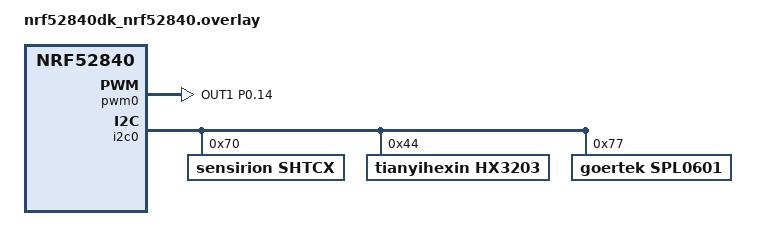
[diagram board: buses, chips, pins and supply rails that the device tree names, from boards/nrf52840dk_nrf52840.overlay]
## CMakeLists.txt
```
#
# Copyright (c) 2021 Nordic Semiconductor ASA
#
# SPDX-License-Identifier: LicenseRef-Nordic-5-Clause
#

#Add for sensor.Llama Add
list(APPEND BOARD_ROOT ${CMAKE_CURRENT_SOURCE_DIR})
list(APPEND ZEPHYR_EXTRA_MODULES ${CMAKE_CURRENT_SOURCE_DIR}/drivers/hx3203)
list(APPEND ZEPHYR_EXTRA_MODULES ${CMAKE_CURRENT_SOURCE_DIR}/drivers/spl0601)

cmake_minimum_required(VERSION 3.20.0)

get_filename_component(MATTER_MODULE_ROOT $ENV{ZEPHYR_BASE}/../modules/lib/matter REALPATH)

# Set Kconfig root files that will be processed as a first Kconfig for used child images.
set(mcuboot_KCONFIG_ROOT ${MATTER_MODULE_ROOT}/config/nrfconnect/chip-module/Kconfig.mcuboot.root)
set(multiprotocol_rpmsg_KCONFIG_ROOT ${MATTER_MODULE_ROOT}/config/nrfconnect/chip-module/Kconfig.multiprotocol_rpmsg.root)
set(hci_rpmsg_KCONFIG_ROOT ${MATTER_MODULE_ROOT}/config/nrfconnect/chip-module/Kconfig.hci_rpmsg.root)

# For prj.conf the CONF_FILE is empty. In other case extract the exact file name from the path string.
if(CONF_FILE)
    get_filename_component(CONFIG_FILE_NAME ${CONF_FILE} NAME)
endif()

if(NOT CONFIG_FILE_NAME STREQUAL "prj_no_dfu.conf")
    set(PM_STATIC_YML_FILE ${CMAKE_CURRENT_SOURCE_DIR}/configuration/${BOARD}/pm_static_dfu.yml)
endif()

find_package(Zephyr HINTS $ENV{ZEPHYR_BASE})

project(matter-light-bulb)

set(COMMON_ROOT ${ZEPHYR_NRF_MODULE_DIR}/samples/matter/common)
set(NLIO_ROOT ${MATTER_MODULE_ROOT}/third_party/nlio/repo)
include(${MATTER_MODULE_ROOT}/config/nrfconnect/app/enable-gnu-std.cmake)
include(${MATTER_MODULE_ROOT}/src/app/chip_data_model.cmake)

# NORDIC SDK APP START
target_include_directories(app PRIVATE
    src
    gl-inet
    drivers/spl0601/zephyr
    drivers/hx3203/zephyr
    ${COMMON_ROOT}/src
    ${NLIO_ROOT}/include
    ${MATTER_MODULE_ROOT}/zzz_generated/app-common
)

target_sources(app PRIVATE
    src/app_task.cpp
    src/main.cpp
    src/zcl_callbacks.cpp
    src/zap-generated/IMClusterCommandHandler.cpp
    src/zap-generated/callback-stub.cpp
    gl-inet/gl_app.cpp
    gl-inet/gl_pwm.cpp
    ${COMMON_ROOT}/src/led_widget.cpp
    ${COMMON_ROOT}/src/pwm_device.cpp
)

if(CONFIG_CHIP_OTA_REQUESTOR OR CONFIG_MCUMGR_SMP_BT)
    target_sources(app PRIVATE ${COMMON_ROOT}/src/ota_util.cpp)
endif()

if(CONFIG_MCUMGR_SMP_BT)
    target_sources(app PRIVATE ${COMMON_ROOT}/src/dfu_over_smp.cpp)
endif()

chip_configure_data_model(app
    INCLUDE_SERVER
    BYPASS_IDL
    ZAP_FILE ${CMAKE_CURRENT_SOURCE_DIR}/src/light_bulb.zap
)
# NORDIC SDK APP END
```

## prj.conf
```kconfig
#
# Copyright (c) 2022 Nordic Semiconductor ASA
#
# SPDX-License-Identifier: LicenseRef-Nordic-5-Clause
#

# Enable CHIP
CONFIG_CHIP=y
CONFIG_CHIP_PROJECT_CONFIG="src/chip_project_config.h"
# 32773 == 0x8005 (example lighting-app)
CONFIG_CHIP_DEVICE_PRODUCT_ID=32773
CONFIG_STD_CPP14=y

# Enable CHIP pairing automatically on application start.
CONFIG_CHIP_ENABLE_PAIRING_AUTOSTART=y

# Add support for LEDs and buttons on Nordic development kits
CONFIG_DK_LIBRARY=y
CONFIG_PWM=y

# Bluetooth Low Energy configuration
CONFIG_BT_DEVICE_NAME="MatterLight"

# Other settings
CONFIG_THREAD_NAME=y
CONFIG_MPU_STACK_GUARD=y
CONFIG_RESET_ON_FATAL_ERROR=n
CONFIG_CHIP_LIB_SHELL=y

# Reduce application size
CONFIG_USE_SEGGER_RTT=n

##Llama Add
CONFIG_SHELL=y
CONFIG_SENSOR=y
CONFIG_SENSOR_SHELL=y
CONFIG_I2C=y
#Added for sensor
CONFIG_SHTCX=y
CONFIG_SPL0601=y
CONFIG_HX3203=y
```

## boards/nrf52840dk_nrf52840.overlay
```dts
/*
 * Copyright (c) 2021-2022 Nordic Semiconductor ASA
 *
 * SPDX-License-Identifier: LicenseRef-Nordic-5-Clause
 */

/ {
	chosen {
		nordic,pm-ext-flash = &mx25r64;
	};

	/*
	* In some default configurations within the nRF Connect SDK,
	* e.g. on nRF52840, the chosen zephyr,entropy node is &cryptocell.
	* This devicetree overlay ensures that default is overridden wherever it
	* is set, as this application uses the RNG node for entropy exclusively.
	*/

	chosen {
		zephyr,entropy = &rng;
	};

	/*
	* By default, PWM module is only configured for led0 (LED1 on the board).
	* The light bulb app, however, uses LED2 to show the state of the lighting,
	* including its brightness level.
	*/
	aliases {
		pwm-led1 = &pwm_led1;
	};

	pwmleds {
		pwm_led1: pwm_led_1 {
			pwms = <&pwm0 1 PWM_MSEC(20) PWM_POLARITY_INVERTED>;
		};
	};

};

&pwm0 {
	pinctrl-0 = <&pwm0_default_alt>;
	pinctrl-1 = <&pwm0_sleep_alt>;
	pinctrl-names = "default", "sleep";
};

/**Llama Add**/
arduino_i2c: &i2c0 {
	compatible = "nordic,nrf-twi";
	status = "okay";
	pinctrl-0 = <&i2c0_default>;
	pinctrl-1 = <&i2c0_sleep>;
	pinctrl-names = "default", "sleep";
	shtcx@70 {
		compatible = "sensirion,shtcx";
		reg = <0x70>;
		chip = "shtc3";
		measure-mode = "normal";
		clock-stretching;
	};
	hx3203@44 {
		compatible = "tianyihexin,hx3203";
		reg = <0x44>;
	};
	spl0601@77 {
		compatible = "goertek,spl0601";
		reg = <0x77>;
	};
};

&pinctrl {
	pwm0_default_alt: pwm0_default_alt {
		group1 {
			psels = <NRF_PSEL(PWM_OUT1, 0, 14)>;
			nordic,invert;
		};
	};

	pwm0_sleep_alt: pwm0_sleep_alt {
		group1 {
			psels = <NRF_PSEL(PWM_OUT1, 0, 14)>;
			low-power-enable;
		};
	};

};

/* Disable unused peripherals to reduce power consumption */
&adc {
	status = "disabled";
};
&uart1 {
	status = "disabled";
};
/*&i2c0 {
	status = "disabled";
};*/
&spi0 {
	status = "disabled";
};
&spi1 {
	status = "disabled";
};
&spi3 {
	status = "disabled";
};
&usbd {
	status = "disabled";
};
```

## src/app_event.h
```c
/*
 * Copyright (c) 2021 Nordic Semiconductor ASA
 *
 * SPDX-License-Identifier: LicenseRef-Nordic-5-Clause
 */

#pragma once

#include <cstdint>

#include "event_types.h"

class LEDWidget;

enum class AppEventType : uint8_t {
	None = 0,
	Button,
	ButtonPushed,
	ButtonReleased,
	Timer,
	UpdateLedState,
	Lighting,
	IdentifyStart,
	IdentifyStop,
	SensorMeasure,		//Llama Add
};

enum class FunctionEvent : uint8_t { NoneSelected = 0, SoftwareUpdate = 0, FactoryReset, AdvertisingStart };

struct AppEvent {
	union {
		struct {
			uint8_t PinNo;
			uint8_t Action;
		} ButtonEvent;
		struct {
			void *Context;
		} TimerEvent;
		struct {
			uint8_t Action;
			int32_t Actor;
		} LightingEvent;
		struct {
			LEDWidget *LedWidget;
		} UpdateLedStateEvent;
	};

	AppEventType Type{ AppEventType::None };
	EventHandler Handler;
};
```

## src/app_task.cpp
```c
/*
 * Copyright (c) 2021 Nordic Semiconductor ASA
 *
 * SPDX-License-Identifier: LicenseRef-Nordic-5-Clause
 */

#include "app_task.h"

#include "app_config.h"
#include "led_util.h"
#include "pwm_device.h"

#include <platform/CHIPDeviceLayer.h>

#include <app-common/zap-generated/attribute-id.h>
#include <app-common/zap-generated/attribute-type.h>
#include <app-common/zap-generated/attributes/Accessors.h>
#include <app-common/zap-generated/cluster-id.h>
#include <app/DeferredAttributePersistenceProvider.h>
#include <app/clusters/identify-server/identify-server.h>
#include <app/server/OnboardingCodesUtil.h>
#include <app/server/Server.h>
#include <credentials/DeviceAttestationCredsProvider.h>
#include <credentials/examples/DeviceAttestationCredsExample.h>
#include <lib/support/CHIPMem.h>
#include <lib/support/CodeUtils.h>
#include <system/SystemError.h>

#ifdef CONFIG_CHIP_WIFI
#include <app/clusters/network-commissioning/network-commissioning.h>
#include <platform/nrfconnect/wifi/NrfWiFiDriver.h>
#endif

#ifdef CONFIG_CHIP_OTA_REQUESTOR
#include "ota_util.h"
#endif

#include <dk_buttons_and_leds.h>
#include <zephyr/logging/log.h>
#include <zephyr/kernel.h>

#include "gl_app.h"

LOG_MODULE_DECLARE(app, CONFIG_MATTER_LOG_LEVEL);

using namespace ::chip;
using namespace ::chip::app;
using namespace ::chip::Credentials;
using namespace ::chip::DeviceLayer;

namespace
{
constexpr uint32_t kFactoryResetTriggerTimeout = 3000;
constexpr uint32_t kFactoryResetCancelWindowTimeout = 3000;
constexpr size_t kAppEventQueueSize = 10;
constexpr EndpointId kLightEndpointId = 1;
constexpr uint8_t kDefaultMinLevel = 0;
constexpr uint8_t kDefaultMaxLevel = 254;
#if NUMBER_OF_BUTTONS == 2
constexpr uint32_t kAdvertisingTriggerTimeout = 3000;
#endif

K_MSGQ_DEFINE(sAppEventQueue, sizeof(AppEvent), kAppEventQueueSize, alignof(AppEvent));
k_timer sFunctionTimer;
k_timer gSensorMeasureTimer;		//Llama Add

Identify sIdentify = { kLightEndpointId, AppTask::IdentifyStartHandler, AppTask::IdentifyStopHandler,
		       EMBER_ZCL_IDENTIFY_IDENTIFY_TYPE_VISIBLE_LED };

LEDWidget sStatusLED;
LEDWidget sIdentifyLED;
#if NUMBER_OF_LEDS == 4
FactoryResetLEDsWrapper<2> sFactoryResetLEDs{ { FACTORY_RESET_SIGNAL_LED, FACTORY_RESET_SIGNAL_LED1 } };
#endif

bool sIsNetworkProvisioned = false;
bool sIsNetworkEnabled = false;
bool sHaveBLEConnections = false;

const struct pwm_dt_spec sLightPwmDevice = PWM_DT_SPEC_GET(DT_ALIAS(pwm_led1));

// Define a custom attribute persister which makes actual write of the CurrentLevel attribute value
// to the non-volatile storage only when it has remained constant for 5 seconds. This is to reduce
// the flash wearout when the attribute changes frequently as a result of MoveToLevel command.
// DeferredAttribute object describes a deferred attribute, but also holds a buffer with a value to
// be written, so it must live so long as the DeferredAttributePersistenceProvider object.
DeferredAttribute gCurrentLevelPersister(ConcreteAttributePath(kLightEndpointId, Clusters::LevelControl::Id,
							       Clusters::LevelControl::Attributes::CurrentLevel::Id));
DeferredAttributePersistenceProvider gDeferredAttributePersister(Server::GetInstance().GetDefaultAttributePersister(),
								 Span<DeferredAttribute>(&gCurrentLevelPersister, 1),
								 System::Clock::Milliseconds32(5000));

} /* namespace */

namespace LedConsts
{
constexpr uint32_t kBlinkRate_ms{ 500 };
constexpr uint32_t kIdentifyBlinkRate_ms{ 500 };

namespace StatusLed
{
	namespace Unprovisioned
	{
		constexpr uint32_t kOn_ms{ 100 };
		constexpr uint32_t kOff_ms{ kOn_ms };
	} /* namespace Unprovisioned */
	namespace Provisioned
	{
		constexpr uint32_t kOn_ms{ 50 };
		constexpr uint32_t kOff_ms{ 950 };
	} /* namespace Provisioned */

} /* namespace StatusLed */
} /* namespace LedConsts */

#ifdef CONFIG_CHIP_WIFI
app::Clusters::NetworkCommissioning::Instance
	sWiFiCommissioningInstance(0, &(NetworkCommissioning::NrfWiFiDriver::Instance()));
#endif

CHIP_ERROR AppTask::Init()
{
	/* Initialize CHIP stack */
	LOG_INF("Init CHIP stack");

	CHIP_ERROR err = chip::Platform::MemoryInit();
	if (err != CHIP_NO_ERROR) {
		LOG_ERR("Platform::MemoryInit() failed");
		return err;
	}

	err = PlatformMgr().InitChipStack();
	if (err != CHIP_NO_ERROR) {
		LOG_ERR("PlatformMgr().InitChipStack() failed");
		return err;
	}

#if defined(CONFIG_NET_L2_OPENTHREAD)
	err = ThreadStackMgr().InitThreadStack();
	if (err != CHIP_NO_ERROR) {
		LOG_ERR("ThreadStackMgr().InitThreadStack() failed: %s", ErrorStr(err));
		return err;
	}

	err = ConnectivityMgr().SetThreadDeviceType(ConnectivityManager::kThreadDeviceType_Router);

	if (err != CHIP_NO_ERROR) {
		LOG_ERR("ThreadStackMgr().InitThreadStack() failed: %s", ErrorStr(err));
		return err;
	}

#elif defined(CONFIG_CHIP_WIFI)
	sWiFiCommissioningInstance.Init();
#else
	return CHIP_ERROR_INTERNAL;
#endif /* CONFIG_NET_L2_OPENTHREAD */

	/* Initialize LEDs */
	LEDWidget::InitGpio();
	LEDWidget::SetStateUpdateCallback(LEDStateUpdateHandler);

	sStatusLED.Init(SYSTEM_STATE_LED);
	sIdentifyLED.Init(LIGHTING_STATE_LED);
	sIdentifyLED.Set(false);

	UpdateStatusLED();

	/* Initialize buttons */
	int ret = dk_buttons_init(ButtonEventHandler);
	if (ret) {
		LOG_ERR("dk_buttons_init() failed");
		return chip::System::MapErrorZephyr(ret);
	}

	/* Initialize function timer */
	k_timer_init(&sFunctionTimer, &AppTask::FunctionTimerTimeoutCallback, nullptr);
	k_timer_user_data_set(&sFunctionTimer, this);

	/* Llama Add */
	// k_timer_init(&gSensorMeasureTimer, &AppTask::SensorMeasureHandler, nullptr);
	// k_timer_user_data_set(&gSensorMeasureTimer, this);
	// k_timer_start(&gSensorMeasureTimer, K_MSEC(500), K_MSEC(500));		//Llama Add

#ifdef CONFIG_MCUMGR_SMP_BT
	/* Initialize DFU over SMP */
	GetDFUOverSMP().Init();
	GetDFUOverSMP().ConfirmNewImage();
#endif

	/* Initialize lighting device (PWM) */
	uint8_t minLightLevel = kDefaultMinLevel;
	Clusters::LevelControl::Attributes::MinLevel::Get(kLightEndpointId, &minLightLevel);

	uint8_t maxLightLevel = kDefaultMaxLevel;
	Clusters::LevelControl::Attributes::MaxLevel::Get(kLightEndpointId, &maxLightLevel);

	ret = mPWMDevice.Init(&sLightPwmDevice, minLightLevel, maxLightLevel, maxLightLevel);
	if (ret != 0) {
		return chip::System::MapErrorZephyr(ret);
	}
	mPWMDevice.SetCallbacks(ActionInitiated, ActionCompleted);

	/* Initialize CHIP server */
#if CONFIG_CHIP_FACTORY_DATA
	ReturnErrorOnFailure(mFactoryDataProvider.Init());
	SetDeviceInstanceInfoProvider(&mFactoryDataProvider);
	SetDeviceAttestationCredentialsProvider(&mFactoryDataProvider);
	SetCommissionableDataProvider(&mFactoryDataProvider);
#else
	SetDeviceAttestationCredentialsProvider(Examples::GetExampleDACProvider());
#endif

	static CommonCaseDeviceServerInitParams initParams;
	(void)initParams.InitializeStaticResourcesBeforeServerInit();

	ReturnErrorOnFailure(chip::Server::GetInstance().Init(initParams));
	app::SetAttributePersistenceProvider(&gDeferredAttributePersister);
	ConfigurationMgr().LogDeviceConfig();
	PrintOnboardingCodes(chip::RendezvousInformationFlags(chip::RendezvousInformationFlag::kBLE));

	/*
	 * Add CHIP event handler and start CHIP thread.
	 * Note that all the initialization code should happen prior to this point to avoid data races
	 * between the main and the CHIP threads.
	 */
	PlatformMgr().AddEventHandler(ChipEventHandler, 0);

	err = PlatformMgr().StartEventLoopTask();
	if (err != CHIP_NO_ERROR) {
		LOG_ERR("PlatformMgr().StartEventLoopTask() failed");
		return err;
	}

	return CHIP_NO_ERROR;
}

CHIP_ERROR AppTask::StartApp()
{
	ReturnErrorOnFailure(Init());

	AppEvent event = {};

	while (true) {
		k_msgq_get(&sAppEventQueue, &event, K_FOREVER);
		DispatchEvent(event);

		/*Llama add to fresh sensor value*/
		if(sensor_hx3203_update_flag){
				value_hx3203 = app_sensor_fetch("hx3203@44");
				LOG_INF("Update sensor value in loop main.\n");
				sensor_hx3203_update_flag = false;
		}
	}

	return CHIP_NO_ERROR;
}

void AppTask::IdentifyStartHandler(Identify *)
{
	AppEvent event;
	event.Type = AppEventType::IdentifyStart;
	event.Handler = [](const AppEvent &) {
		Instance().mPWMDevice.SuppressOutput();
		sIdentifyLED.Blink(LedConsts::kIdentifyBlinkRate_ms);
	};
	PostEvent(event);
}

void AppTask::IdentifyStopHandler(Identify *)
{
	AppEvent event;
	event.Type = AppEventType::IdentifyStop;
	event.Handler = [](const AppEvent &) {
		sIdentifyLED.Set(false);
		Instance().mPWMDevice.ApplyLevel();
	};
	PostEvent(event);
}

#if NUMBER_OF_BUTTONS == 2
void AppTask::StartBLEAdvertisementAndLightActionEventHandler(const AppEvent &event)
{
	if (event.ButtonEvent.Action == static_cast<uint8_t>(AppEventType::ButtonPushed)) {
		Instance().StartTimer(kAdvertisingTriggerTimeout);
		Instance().mFunction = FunctionEvent::AdvertisingStart;
	} else {
		if (Instance().mFunction == FunctionEvent::AdvertisingStart && Instance().mFunctionTimerActive) {
			Instance().CancelTimer();
			Instance().mFunction = FunctionEvent::NoneSelected;

			AppEvent button_event;
			button_event.Type = AppEventType::Button;
			button_event.ButtonEvent.PinNo = BLE_ADVERTISEMENT_START_AND_LIGHTING_BUTTON;
			button_event.ButtonEvent.Action = static_cast<uint8_t>(AppEventType::ButtonReleased);
			button_event.Handler = LightingActionEventHandler;
			PostEvent(button_event);
		}
	}
}
#endif

void AppTask::LightingActionEventHandler(const AppEvent &event)
{
	PWMDevice::Action_t action = PWMDevice::INVALID_ACTION;
	int32_t actor = 0;

	if (event.Type == AppEventType::Lighting) {
		action = static_cast<PWMDevice::Action_t>(event.LightingEvent.Action);
		actor = event.LightingEvent.Actor;
	} else if (event.Type == AppEventType::Button) {
		action = Instance().mPWMDevice.IsTurnedOn() ? PWMDevice::OFF_ACTION : PWMDevice::ON_ACTION;
		actor = static_cast<int32_t>(AppEventType::Button);
	}

	if (action != PWMDevice::INVALID_ACTION && Instance().mPWMDevice.InitiateAction(action, actor, NULL)) {
		LOG_INF("Action is already in progress or active.");
	}
}

void AppTask::ButtonEventHandler(uint32_t buttonState, uint32_t hasChanged)
{
	AppEvent button_event;
	button_event.Type = AppEventType::Button;

#if NUMBER_OF_BUTTONS == 2
	if (BLE_ADVERTISEMENT_START_AND_LIGHTING_BUTTON_MASK & hasChanged) {
		button_event.ButtonEvent.PinNo = BLE_ADVERTISEMENT_START_AND_LIGHTING_BUTTON;
		button_event.ButtonEvent.Action =
			static_cast<uint8_t>((BLE_ADVERTISEMENT_START_AND_LIGHTING_BUTTON_MASK & buttonState) ?
						     AppEventType::ButtonPushed :
						     AppEventType::ButtonReleased);
		button_event.Handler = StartBLEAdvertisementAndLightActionEventHandler;
		PostEvent(button_event);
	}
#else
	if (LIGHTING_BUTTON_MASK & buttonState & hasChanged) {
		button_event.ButtonEvent.PinNo = LIGHTING_BUTTON;
		button_event.ButtonEvent.Action = static_cast<uint8_t>(AppEventType::ButtonPushed);
		button_event.Handler = LightingActionEventHandler;
		PostEvent(button_event);
	}

	if (BLE_ADVERTISEMENT_START_BUTTON_MASK & buttonState & hasChanged) {
		button_event.ButtonEvent.PinNo = BLE_ADVERTISEMENT_START_BUTTON;
		button_event.ButtonEvent.Action = static_cast<uint8_t>(AppEventType::ButtonPushed);
		button_event.Handler = StartBLEAdvertisementHandler;
		PostEvent(button_event);
	}
#endif

	if (FUNCTION_BUTTON_MASK & hasChanged) {
		button_event.ButtonEvent.PinNo = FUNCTION_BUTTON;
		button_event.ButtonEvent.Action =
			static_cast<uint8_t>((FUNCTION_BUTTON_MASK & buttonState) ? AppEventType::ButtonPushed :
										    AppEventType::ButtonReleased);
		button_event.Handler = FunctionHandler;
		PostEvent(button_event);
	}
}

void AppTask::FunctionTimerTimeoutCallback(k_timer *timer)
{
	if (!timer) {
		return;
	}

	Instance().mFunctionTimerActive = false;
	AppEvent event;
	event.Type = AppEventType::Timer;
	event.TimerEvent.Context = k_timer_user_data_get(timer);
	event.Handler = FunctionTimerEventHandler;
	PostEvent(event);

	/*Llama Add*/
	// event.Type = AppEventType::SensorMeasure;
	// event.Handler = SensorMeasureFunctionHandler;
	// PostEvent(event);
}

void AppTask::FunctionTimerEventHandler(const AppEvent &event)
{	
	LOG_INF("Testing if is runing.");
	if (event.Type != AppEventType::Timer) {
		return;
	}

	/* If we reached here, the button was held past kFactoryResetTriggerTimeout, initiate factory reset */
	if (Instance().mFunction == FunctionEvent::SoftwareUpdate) {
		LOG_INF("Factory Reset Triggered. Release button within %ums to cancel.", kFactoryResetTriggerTimeout);

		/* Start timer for kFactoryResetCancelWindowTimeout to allow user to cancel, if required. */
		Instance().StartTimer(kFactoryResetCancelWindowTimeout);
		Instance().mFunction = FunctionEvent::FactoryReset;

		/* Turn off all LEDs before starting blink to make sure blink is co-ordinated. */
		sStatusLED.Set(false);
#if NUMBER_OF_LEDS == 4
		sFactoryResetLEDs.Set(false);
#endif

		sStatusLED.Blink(LedConsts::kBlinkRate_ms);
#if NUMBER_OF_LEDS == 4
		sFactoryResetLEDs.Blink(LedConsts::kBlinkRate_ms);
#endif
	} else if (Instance().mFunction == FunctionEvent::FactoryReset) {
		/* Actually trigger Factory Reset */
		Instance().mFunction = FunctionEvent::NoneSelected;
		chip::Server::GetInstance().ScheduleFactoryReset();
	} else if (Instance().mFunction == FunctionEvent::AdvertisingStart) {
		/* The button was held past kAdvertisingTriggerTimeout, start BLE advertisement
		   if we have 2 buttons UI*/
#if NUMBER_OF_BUTTONS == 2
		StartBLEAdvertisementHandler(event);
		Instance().mFunction = FunctionEvent::NoneSelected;
#endif
	}
}

void AppTask::FunctionHandler(const AppEvent &event)
{
	if (event.ButtonEvent.PinNo != FUNCTION_BUTTON)
		return;

	/* To trigger software update: press the FUNCTION_BUTTON button briefly (< kFactoryResetTriggerTimeout)
	 * To initiate factory reset: press the FUNCTION_BUTTON for kFactoryResetTriggerTimeout +
	 * kFactoryResetCancelWindowTimeout All LEDs start blinking after kFactoryResetTriggerTimeout to signal factory
	 * reset has been initiated. To cancel factory reset: release the FUNCTION_BUTTON once all LEDs start blinking
	 * within the kFactoryResetCancelWindowTimeout.
	 */
	if (event.ButtonEvent.Action == static_cast<uint8_t>(AppEventType::ButtonPushed)) {
		if (!Instance().mFunctionTimerActive && Instance().mFunction == FunctionEvent::NoneSelected) {
			Instance().StartTimer(kFactoryResetTriggerTimeout);
			Instance().mFunction = FunctionEvent::SoftwareUpdate;
		}
	} else {
		/* If the button was released before factory reset got initiated, trigger a software update. */
		if (Instance().mFunctionTimerActive && Instance().mFunction == FunctionEvent::SoftwareUpdate) {
			Instance().CancelTimer();
			Instance().mFunction = FunctionEvent::NoneSelected;

#ifdef CONFIG_MCUMGR_SMP_BT
			GetDFUOverSMP().StartServer();
#else
			LOG_INF("Software update is disabled");
#endif
		} else if (Instance().mFunctionTimerActive && Instance().mFunction == FunctionEvent::FactoryReset) {
#if NUMBER_OF_LEDS == 4
			sFactoryResetLEDs.Set(false);
#endif
			UpdateStatusLED();
			Instance().CancelTimer();
			Instance().mFunction = FunctionEvent::NoneSelected;
			LOG_INF("Factory Reset has been Canceled");
		}
	}
}

void AppTask::StartBLEAdvertisementHandler(const AppEvent &)
{
	if (Server::GetInstance().GetFabricTable().FabricCount() != 0) {
		LOG_INF("Matter service BLE advertising not started - device is already commissioned");
		return;
	}

	if (ConnectivityMgr().IsBLEAdvertisingEnabled()) {
		LOG_INF("BLE advertising is already enabled");
		return;
	}

	if (Server::GetInstance().GetCommissioningWindowManager().OpenBasicCommissioningWindow() != CHIP_NO_ERROR) {
		LOG_ERR("OpenBasicCommissioningWindow() failed");
	}
}

void AppTask::UpdateLedStateEventHandler(const AppEvent &event)
{
	if (event.Type == AppEventType::UpdateLedState) {
		event.UpdateLedStateEvent.LedWidget->UpdateState();
	}
}

void AppTask::LEDStateUpdateHandler(LEDWidget &ledWidget)
{
	AppEvent event;
	event.Type = AppEventType::UpdateLedState;
	event.Handler = UpdateLedStateEventHandler;
	event.UpdateLedStateEvent.LedWidget = &ledWidget;
	PostEvent(event);
}

void AppTask::UpdateStatusLED()
{
	/* Update the status LED.
	 *
	 * If IPv6 network and service provisioned, keep the LED On constantly.
	 *
	 * If the system has ble connection(s) uptill the stage above, THEN blink the LED at an even
	 * rate of 100ms.
	 *
	 * Otherwise, blink the LED for a very short time. */
	if (sIsNetworkProvisioned && sIsNetworkEnabled) {
		sStatusLED.Set(true);
	} else if (sHaveBLEConnections) {
		sStatusLED.Blink(LedConsts::StatusLed::Unprovisioned::kOn_ms,
				 LedConsts::StatusLed::Unprovisioned::kOff_ms);
	} else {
		sStatusLED.Blink(LedConsts::StatusLed::Provisioned::kOn_ms, LedConsts::StatusLed::Provisioned::kOff_ms);
	}
}

void AppTask::ChipEventHandler(const ChipDeviceEvent *event, intptr_t /* arg */)
{
	switch (event->Type) {
	case DeviceEventType::kCHIPoBLEAdvertisingChange:
#ifdef CONFIG_CHIP_NFC_COMMISSIONING
		if (event->CHIPoBLEAdvertisingChange.Result == kActivity_Started) {
			if (NFCMgr().IsTagEmulationStarted()) {
				LOG_INF("NFC Tag emulation is already started");
			} else {
				ShareQRCodeOverNFC(
					chip::RendezvousInformationFlags(chip::RendezvousInformationFlag::kBLE));
			}
		} else if (event->CHIPoBLEAdvertisingChange.Result == kActivity_Stopped) {
			NFCMgr().StopTagEmulation();
		}
#endif
		sHaveBLEConnections = ConnectivityMgr().NumBLEConnections() != 0;
		UpdateStatusLED();
		break;
#if defined(CONFIG_NET_L2_OPENTHREAD)
	case DeviceEventType::kDnssdPlatformInitialized:
#if CONFIG_CHIP_OTA_REQUESTOR
		InitBasicOTARequestor();
#endif /* CONFIG_CHIP_OTA_REQUESTOR */
		break;
	case DeviceEventType::kThreadStateChange:
		sIsNetworkProvisioned = ConnectivityMgr().IsThreadProvisioned();
		sIsNetworkEnabled = ConnectivityMgr().IsThreadEnabled();
#elif defined(CONFIG_CHIP_WIFI)
	case DeviceEventType::kWiFiConnectivityChange:
		sIsNetworkProvisioned = ConnectivityMgr().IsWiFiStationProvisioned();
		sIsNetworkEnabled = ConnectivityMgr().IsWiFiStationEnabled();
#if CONFIG_CHIP_OTA_REQUESTOR
		if (event->WiFiConnectivityChange.Result == kConnectivity_Established) {
			InitBasicOTARequestor();
		}
#endif /* CONFIG_CHIP_OTA_REQUESTOR */
#endif
		UpdateStatusLED();
		break;
	default:
		break;
	}
}

void AppTask::CancelTimer()
{
	k_timer_stop(&sFunctionTimer);
	mFunctionTimerActive = false;
}

void AppTask::StartTimer(uint32_t timeoutInMs)
{
	k_timer_start(&sFunctionTimer, K_MSEC(timeoutInMs), K_NO_WAIT);
	mFunctionTimerActive = true;
}

void AppTask::ActionInitiated(PWMDevice::Action_t action, int32_t actor)
{
	if (action == PWMDevice::ON_ACTION) {
		LOG_INF("Turn On Action has been initiated");
	} else if (action == PWMDevice::OFF_ACTION) {
		LOG_INF("Turn Off Action has been initiated");
	} else if (action == PWMDevice::LEVEL_ACTION) {
		LOG_INF("Level Action has been initiated");
	}
}

void AppTask::ActionCompleted(PWMDevice::Action_t action, int32_t actor)
{
	if (action == PWMDevice::ON_ACTION) {
		LOG_INF("Turn On Action has been completed");
	} else if (action == PWMDevice::OFF_ACTION) {
		LOG_INF("Turn Off Action has been completed");
	} else if (action == PWMDevice::LEVEL_ACTION) {
		LOG_INF("Level Action has been completed");
	}

	if (actor == static_cast<int32_t>(AppEventType::Button)) {
		Instance().UpdateClusterState();
	}
}

void AppTask::PostEvent(const AppEvent &event)
{
	if (k_msgq_put(&sAppEventQueue, &event, K_NO_WAIT) != 0) {
		LOG_INF("Failed to post event to app task event queue");
	}
}

void AppTask::DispatchEvent(const AppEvent &event)
{
	if (event.Handler) {
		event.Handler(event);
	} else {
		LOG_INF("Event received with no handler. Dropping event.");
	}
}

void AppTask::UpdateClusterState()
{
	SystemLayer().ScheduleLambda([this] {
		/* write the new on/off value */
		EmberAfStatus status =
			Clusters::OnOff::Attributes::OnOff::Set(kLightEndpointId, mPWMDevice.IsTurnedOn());

		if (status != EMBER_ZCL_STATUS_SUCCESS) {
			LOG_ERR("Updating on/off cluster failed: %x", status);
		}

		/* write the current level */
		status = Clusters::LevelControl::Attributes::CurrentLevel::Set(kLightEndpointId, mPWMDevice.GetLevel());

		if (status != EMBER_ZCL_STATUS_SUCCESS) {
			LOG_ERR("Updating level cluster failed: %x", status);
		}
	});
}

/*Llama Add*/
void AppTask::SensorMeasureFunctionHandler(const AppEvent &)
{
	LOG_INF("Sensor Measure Handler. Sensor:%d", value_hx3203);
	uint16_t value_set = (uint16_t)value_hx3203;
	chip::app::Clusters::IlluminanceMeasurement::Attributes::MeasuredValue::Set(1, value_set);
}

/*Llama Add*/
void AppTask::SensorMeasureTimerHandler(k_timer *timer){
	AppEvent event;
	event.Type = AppEventType::SensorMeasure;
	event.Handler = AppTask::SensorMeasureFunctionHandler;
	AppTask::Instance().PostEvent(event);
}
```

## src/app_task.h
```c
/*
 * Copyright (c) 2021 Nordic Semiconductor ASA
 *
 * SPDX-License-Identifier: LicenseRef-Nordic-5-Clause
 */

#pragma once

#include "app_event.h"
#include "led_widget.h"
#include "pwm_device.h"

#include <platform/CHIPDeviceLayer.h>

#if CONFIG_CHIP_FACTORY_DATA
#include <platform/nrfconnect/FactoryDataProvider.h>
#endif

#ifdef CONFIG_MCUMGR_SMP_BT
#include "dfu_over_smp.h"
#endif

struct k_timer;
struct Identify;

class AppTask {
public:
	static AppTask &Instance()
	{
		static AppTask sAppTask;
		return sAppTask;
	};

	CHIP_ERROR StartApp();

	void UpdateClusterState();
	PWMDevice &GetPWMDevice() { return mPWMDevice; }

	static void IdentifyStartHandler(Identify *);
	static void IdentifyStopHandler(Identify *);
	static void SensorMeasureFunctionHandler(const AppEvent &);
	static void PostEvent(const AppEvent &event);

	static void SensorMeasureTimerHandler(k_timer *tiemr);		//Llama Add

private:
	CHIP_ERROR Init();

	void CancelTimer();
	void StartTimer(uint32_t timeoutInMs);

	// static void PostEvent(const AppEvent &event);   //Llama move it to public
	static void DispatchEvent(const AppEvent &event);
	static void FunctionTimerEventHandler(const AppEvent &event);
	static void LightingActionEventHandler(const AppEvent &event);
	static void StartBLEAdvertisementHandler(const AppEvent &event);
	static void UpdateLedStateEventHandler(const AppEvent &event);

	static void ChipEventHandler(const chip::DeviceLayer::ChipDeviceEvent *event, intptr_t arg);
	static void ButtonEventHandler(uint32_t buttonState, uint32_t hasChanged);
	static void FunctionTimerTimeoutCallback(k_timer *timer);

	static void ActionInitiated(PWMDevice::Action_t action, int32_t actor);
	static void ActionCompleted(PWMDevice::Action_t action, int32_t actor);
	static void UpdateStatusLED();
	static void LEDStateUpdateHandler(LEDWidget &ledWidget);
	static void FunctionHandler(const AppEvent &event);
	static void StartBLEAdvertisementAndLightActionEventHandler(const AppEvent &event);

	FunctionEvent mFunction = FunctionEvent::NoneSelected;
	bool mFunctionTimerActive = false;
	PWMDevice mPWMDevice;
#if CONFIG_CHIP_FACTORY_DATA
	chip::DeviceLayer::FactoryDataProvider<chip::DeviceLayer::InternalFlashFactoryData> mFactoryDataProvider;
#endif
};
```

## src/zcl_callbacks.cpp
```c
/*
 * Copyright (c) 2021 Nordic Semiconductor ASA
 *
 * SPDX-License-Identifier: LicenseRef-Nordic-5-Clause
 */

#include <lib/support/logging/CHIPLogging.h>

#include "app_task.h"

#include <app-common/zap-generated/attributes/Accessors.h>
#include <app-common/zap-generated/ids/Attributes.h>
#include <app-common/zap-generated/ids/Clusters.h>
#include <app/ConcreteAttributePath.h>

//Llama Add
#include "gl_app.h"

using namespace ::chip;
using namespace ::chip::app::Clusters;
using namespace ::chip::app::Clusters::OnOff;

void MatterPostAttributeChangeCallback(const chip::app::ConcreteAttributePath &attributePath, uint8_t type,
				       uint16_t size, uint8_t *value)
{
	ClusterId clusterId = attributePath.mClusterId;
	AttributeId attributeId = attributePath.mAttributeId;

	if (clusterId == OnOff::Id && attributeId == OnOff::Attributes::OnOff::Id) {
		ChipLogProgress(Zcl, "Cluster OnOff: attribute OnOff set to %" PRIu8 "", *value);
		AppTask::Instance().GetPWMDevice().InitiateAction(*value ? PWMDevice::ON_ACTION : PWMDevice::OFF_ACTION,
								  static_cast<int32_t>(AppEventType::Lighting), value);
	} else if (clusterId == LevelControl::Id && attributeId == LevelControl::Attributes::CurrentLevel::Id) {
		ChipLogProgress(Zcl, "Cluster LevelControl: attribute CurrentLevel set to %" PRIu8 "", *value);
		if (AppTask::Instance().GetPWMDevice().IsTurnedOn()) {
			AppTask::Instance().GetPWMDevice().InitiateAction(
				PWMDevice::LEVEL_ACTION, static_cast<int32_t>(AppEventType::Lighting), value);
		} else {
			ChipLogDetail(Zcl, "LED is off. Try to use move-to-level-with-on-off instead of move-to-level");
		}
	}
	if (clusterId == IlluminanceMeasurement::Id && attributeId == IlluminanceMeasurement::Attributes::MeasuredValue::Id){
		testAPP();
	}
}

/** @brief OnOff Cluster Init
 *
 * This function is called when a specific cluster is initialized. It gives the
 * application an opportunity to take care of cluster initialization procedures.
 * It is called exactly once for each endpoint where cluster is present.
 *
 * @param endpoint   Ver.: always
 *
 * TODO Issue #3841
 * emberAfOnOffClusterInitCallback happens before the stack initialize the cluster
 * attributes to the default value.
 * The logic here expects something similar to the deprecated Plugins callback
 * emberAfPluginOnOffClusterServerPostInitCallback.
 *
 */
void emberAfOnOffClusterInitCallback(EndpointId endpoint)
{
	EmberAfStatus status;
	bool storedValue;

	/* Read storedValue on/off value */
	status = Attributes::OnOff::Get(endpoint, &storedValue);
	if (status == EMBER_ZCL_STATUS_SUCCESS) {
		/* Set actual state to the cluster state that was last persisted */
		AppTask::Instance().GetPWMDevice().InitiateAction(
			storedValue ? PWMDevice::ON_ACTION : PWMDevice::OFF_ACTION,
			static_cast<int32_t>(AppEventType::Lighting), reinterpret_cast<uint8_t *>(&storedValue));
	}

	AppTask::Instance().UpdateClusterState();

	testAPP();  //Llama Add
}
```
